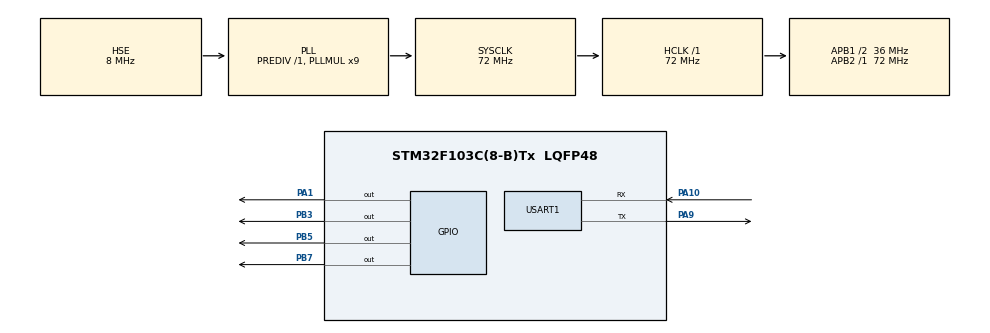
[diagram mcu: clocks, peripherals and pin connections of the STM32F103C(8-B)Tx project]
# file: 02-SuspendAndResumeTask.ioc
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FREERTOS.Tasks01=defaultTask,0,128,StartDefaultTask,Default,NULL,Dynamic,NULL,NULL;myTask02,0,128,StartTask02,Default,NULL,Dynamic,NULL,NULL;myTask03,1,128,StartTask03,Default,NULL,Dynamic,NULL,NULL
Mcu.Family=STM32F1
Mcu.Name=STM32F103C(8-B)Tx
Mcu.Package=LQFP48
NVIC.PriorityGroup=NVIC_PRIORITYGROUP_4
NVIC.TIM1_UP_IRQn=true\:15\:0\:false\:false\:true\:false\:false\:true\:true
NVIC.TimeBase=TIM1_UP_IRQn
NVIC.TimeBaseIP=TIM1
PA1.GPIO_ModeDefaultOutputPP=GPIO_MODE_OUTPUT_OD
PA1.GPIO_PuPd=GPIO_PULLUP
PA1.PinState=GPIO_PIN_SET
PA1.Signal=GPIO_Output
PA10.Mode=Asynchronous
PA10.Signal=USART1_RX
PA13.Mode=Serial_Wire
PA13.Signal=SYS_JTMS-SWDIO
PA14.Mode=Serial_Wire
PA14.Signal=SYS_JTCK-SWCLK
PA9.Mode=Asynchronous
PA9.Signal=USART1_TX
PB3.GPIO_ModeDefaultOutputPP=GPIO_MODE_OUTPUT_PP
PB3.GPIO_PuPd=GPIO_PULLUP
PB3.PinState=GPIO_PIN_SET
PB3.Signal=GPIO_Output
PB5.GPIO_ModeDefaultOutputPP=GPIO_MODE_OUTPUT_PP
PB5.GPIO_PuPd=GPIO_PULLUP
PB5.PinState=GPIO_PIN_SET
PB5.Signal=GPIO_Output
PB7.GPIO_ModeDefaultOutputPP=GPIO_MODE_OUTPUT_OD
PB7.GPIO_PuPd=GPIO_PULLUP
PB7.PinState=GPIO_PIN_SET
PB7.Signal=GPIO_Output
PC14-OSC32_IN.Mode=LSE-External-Oscillator
PC14-OSC32_IN.Signal=RCC_OSC32_IN
PC15-OSC32_OUT.Mode=LSE-External-Oscillator
PC15-OSC32_OUT.Signal=RCC_OSC32_OUT
PD0-OSC_IN.Mode=HSE-External-Oscillator
PD0-OSC_IN.Signal=RCC_OSC_IN
PD1-OSC_OUT.Mode=HSE-External-Oscillator
PD1-OSC_OUT.Signal=RCC_OSC_OUT
ProjectManager.HeapSize=0x200
ProjectManager.StackSize=0x400
ProjectManager.TargetToolchain=STM32CubeIDE
RCC.AHBFreq_Value=72000000
RCC.APB1CLKDivider=RCC_HCLK_DIV2
RCC.APB1Freq_Value=36000000
RCC.APB1TimFreq_Value=72000000
RCC.APB2Freq_Value=72000000
RCC.APB2TimFreq_Value=72000000
RCC.HCLKFreq_Value=72000000
RCC.PLLMUL=RCC_PLL_MUL9
RCC.PLLSourceVirtual=RCC_PLLSOURCE_HSE
RCC.SYSCLKFreq_VALUE=72000000
RCC.SYSCLKSource=RCC_SYSCLKSOURCE_PLLCLK
RCC.USBFreq_Value=72000000
USART1.VirtualMode=VM_ASYNC
VP_FREERTOS_VS_CMSIS_V1.Mode=CMSIS_V1
VP_SYS_VS_tim1.Mode=TIM1
board=custom

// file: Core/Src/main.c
/* USER CODE BEGIN Header */
/**
  ******************************************************************************
  * @file           : main.c
  * @brief          : Main program body
  ******************************************************************************
  * @attention
  *
  * Copyright (c) 2025 STMicroelectronics.
  * All rights reserved.
  *
  * This software is licensed under terms that can be found in the LICENSE file
  * in the root directory of this software component.
  * If no LICENSE file comes with this software, it is provided AS-IS.
  *
  ******************************************************************************
  */
/* USER CODE END Header */
#include "main.h"
#include "cmsis_os.h"
#include "usart.h"
#include "gpio.h"

/* USER CODE BEGIN Includes */
#include "stdio.h"
/* USER CODE END Includes */

void SystemClock_Config(void);
void MX_FREERTOS_Init(void);

int main(void)
{

  /* MCU Configuration--------------------------------------------------------*/

  /* Reset of all peripherals, Initializes the Flash interface and the Systick. */
   HAL_Init();

  /* Configure the system clock */
  SystemClock_Config();

  /* Initialize all configured peripherals */
  MX_GPIO_Init();
  MX_USART1_UART_Init();

  /* Call init function for freertos objects (in cmsis_os2.c) */
  MX_FREERTOS_Init();

  /* Start scheduler */
  osKernelStart();

  /* We should never get here as control is now taken by the scheduler */

  /* Infinite loop */
  while (1)
  {

  }
}

void SystemClock_Config(void)
{
  RCC_OscInitTypeDef RCC_OscInitStruct = {0};
  RCC_ClkInitTypeDef RCC_ClkInitStruct = {0};

  /** Initializes the RCC Oscillators according to the specified parameters
  * in the RCC_OscInitTypeDef structure.
  */
  RCC_OscInitStruct.OscillatorType = RCC_OSCILLATORTYPE_HSE;
  RCC_OscInitStruct.HSEState = RCC_HSE_ON;
  RCC_OscInitStruct.HSEPredivValue = RCC_HSE_PREDIV_DIV1;
  RCC_OscInitStruct.HSIState = RCC_HSI_ON;
  RCC_OscInitStruct.PLL.PLLState = RCC_PLL_ON;
  RCC_OscInitStruct.PLL.PLLSource = RCC_PLLSOURCE_HSE;
  RCC_OscInitStruct.PLL.PLLMUL = RCC_PLL_MUL9;
  if (HAL_RCC_OscConfig(&RCC_OscInitStruct) != HAL_OK)
  {
    Error_Handler();
  }

  /** Initializes the CPU, AHB and APB buses clocks
  */
  RCC_ClkInitStruct.ClockType = RCC_CLOCKTYPE_HCLK|RCC_CLOCKTYPE_SYSCLK
                              |RCC_CLOCKTYPE_PCLK1|RCC_CLOCKTYPE_PCLK2;
  RCC_ClkInitStruct.SYSCLKSource = RCC_SYSCLKSOURCE_PLLCLK;
  RCC_ClkInitStruct.AHBCLKDivider = RCC_SYSCLK_DIV1;
  RCC_ClkInitStruct.APB1CLKDivider = RCC_HCLK_DIV2;
  RCC_ClkInitStruct.APB2CLKDivider = RCC_HCLK_DIV1;

  if (HAL_RCC_ClockConfig(&RCC_ClkInitStruct, FLASH_LATENCY_2) != HAL_OK)
  {
    Error_Handler();
  }
}

void HAL_TIM_PeriodElapsedCallback(TIM_HandleTypeDef *htim)
{
  if (htim->Instance == TIM1)
  {
    HAL_IncTick();
  }
}

void Error_Handler(void)
{
  __disable_irq();
  while (1)
  {
  }
}

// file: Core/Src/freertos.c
/* USER CODE BEGIN Header */
/**
  ******************************************************************************
  * File Name          : freertos.c
  * Description        : Code for freertos applications
  ******************************************************************************
  * @attention
  *
  * Copyright (c) 2025 STMicroelectronics.
  * All rights reserved.
  *
  * This software is licensed under terms that can be found in the LICENSE file
  * in the root directory of this software component.
  * If no LICENSE file comes with this software, it is provided AS-IS.
  *
  ******************************************************************************
  */
/* USER CODE END Header */

#include "FreeRTOS.h"
#include "task.h"
#include "main.h"
#include "cmsis_os.h"

/* USER CODE BEGIN Includes */
#include "stdio.h"
#include "../../Hardware/Inc/key.h"
#include "../../Hardware/Inc/led.h"
/* USER CODE END Includes */

osThreadId defaultTaskHandle;
osThreadId myTask02Handle;
osThreadId myTask03Handle;

void StartDefaultTask(void const * argument);
void StartTask02(void const * argument);
void StartTask03(void const * argument);

void MX_FREERTOS_Init(void); /* (MISRA C 2004 rule 8.1) */

/* GetIdleTaskMemory prototype (linked to static allocation support) */
void vApplicationGetIdleTaskMemory( StaticTask_t **ppxIdleTaskTCBBuffer, StackType_t **ppxIdleTaskStackBuffer, uint32_t *pulIdleTaskStackSize );

/* USER CODE BEGIN GET_IDLE_TASK_MEMORY */
static StaticTask_t xIdleTaskTCBBuffer;
static StackType_t xIdleStack[configMINIMAL_STACK_SIZE];

void vApplicationGetIdleTaskMemory( StaticTask_t **ppxIdleTaskTCBBuffer, StackType_t **ppxIdleTaskStackBuffer, uint32_t *pulIdleTaskStackSize )
{
  *ppxIdleTaskTCBBuffer = &xIdleTaskTCBBuffer;
  *ppxIdleTaskStackBuffer = &xIdleStack[0];
  *pulIdleTaskStackSize = configMINIMAL_STACK_SIZE;
  /* place for user code */
}
/* USER CODE END GET_IDLE_TASK_MEMORY */

void MX_FREERTOS_Init(void) {

  /* Create the thread(s) */
  /* definition and creation of defaultTask */
  osThreadDef(defaultTask, StartDefaultTask, osPriorityNormal, 0, 200);
  defaultTaskHandle = osThreadCreate(osThread(defaultTask), NULL);

  /* definition and creation of myTask02 */
  osThreadDef(myTask02, StartTask02, osPriorityNormal, 0, 200);
  myTask02Handle = osThreadCreate(osThread(myTask02), NULL);

  /* definition and creation of myTask03 */
  osThreadDef(myTask03, StartTask03, osPriorityNormal, 0, 256);
  myTask03Handle = osThreadCreate(osThread(myTask03), NULL);

}

void StartDefaultTask(void const * argument)
{
  /* USER CODE BEGIN StartDefaultTask */
  /* Infinite loop */
  for(;;)
  {
      printf("task1 running");
    osDelay(500);
  }
  /* USER CODE END StartDefaultTask */
}

void StartTask02(void const * argument)
{
  /* USER CODE BEGIN StartTask02 */
  /* Infinite loop */
  for(;;)
  {
      printf("task2 running");
    osDelay(500);
  }
  /* USER CODE END StartTask02 */
}

void StartTask03(void const * argument)
{
  /* USER CODE BEGIN StartTask03 */
  /* Infinite loop */
  for(;;)
  {
      if(KEY0 == 1)
      {
          vTaskSuspend(defaultTaskHandle);
          printf(">>>Suspend task1");
          UBaseType_t stack_remain = uxTaskGetStackHighWaterMark(NULL);
          printf("stack_remain: ", stack_remain);
          uint8_t tcb = (uint8_t)sizeof(StaticTask_t);
          uint8_t stack_ = (uint8_t)sizeof(StackType_t);
          printf("memory: ", (tcb + 200 * stack_) * 2 + (tcb + 256 * stack_));
//          osDelay(500);
//          vTaskResume(defaultTaskHandle);
//          printf("<<<Resume task1");
      }
      else if(KEY1 == 1)
      {
          vTaskResume(defaultTaskHandle);
          printf("<<<Resume task1");
      }
//      else if(KEY2 == 1)
//      {
//          vTaskSuspendAll();
//          printf("<<<Suspend all");
//      }
//      else if(KEY3 == 1)
//      {
//          xTaskResumeAll();
//          printf(">>>Resume all");
//      }

      osDelay(500);
  }
  /* USER CODE END StartTask03 */
}
